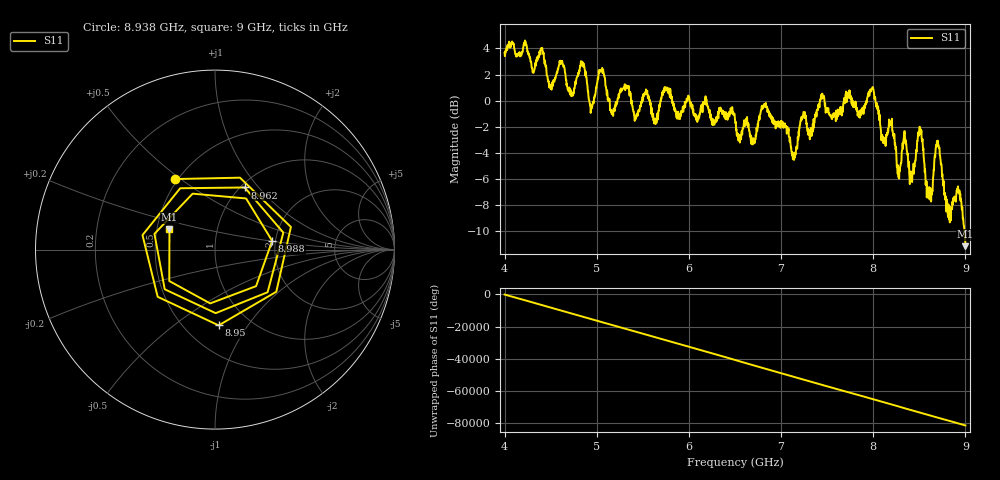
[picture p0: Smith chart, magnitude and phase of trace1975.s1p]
! Created with skrf 1.8.0 (http://scikit-rf.org).
# Hz S RI R 50.0
!freq ReS11 ImS11
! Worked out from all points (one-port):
!   1601 points, 4 GHz to 9 GHz, reference 50 ohm
!   lowest |S11| = -11.1 dB at 9 GHz (marker M1), VSWR 1.77, Z = 29.1 + j7.15 ohm
!   |S11| at or under -10 dB: 8.989108 GHz to end of sweep
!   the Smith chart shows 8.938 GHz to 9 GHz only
!   S11 on the Smith chart (normalised r, x): 8.938 GHz: 0.48, +0.48; 8.95 GHz: 0.72, -0.74; 8.962 GHz: 1.04, +0.85; 8.988 GHz: 1.92, +0.21; 9 GHz: 0.58, +0.14
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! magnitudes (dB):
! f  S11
! 4 GHz  3.7
! 4.5 GHz  0.9
! 4.625 GHz  3.0
! 4.731 GHz  0.5
! 4.847 GHz  2.9
! 4.941 GHz  -0.5
! 5.044 GHz  2.4
! 5.169 GHz  -0.8
! 5.25 GHz  0.7
! 5.875 GHz  -0.9
! 6.5 GHz  -1.5
! 6.697 GHz  -3.3
! 6.825 GHz  -0.4
! 7.125 GHz  -4.1
! 7.444 GHz  0.2
! 7.75 GHz  0.2
! 7.988 GHz  1.0
! 8.109 GHz  -2.8
! 8.375 GHz  -4.0
! 8.509 GHz  -2.4
! 8.606 GHz  -6.6
! 8.7 GHz  -3.1
! 8.816 GHz  -8.5
! 8.938 GHz  -6.9
! 8.95 GHz  -7.5
! 8.962 GHz  -8.3
! 8.988 GHz  -9.8
! 9 GHz  -11.1
